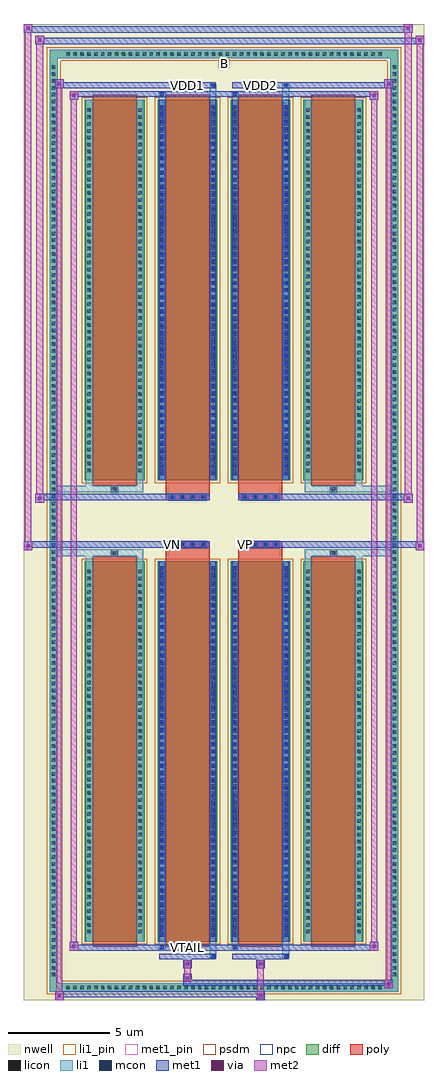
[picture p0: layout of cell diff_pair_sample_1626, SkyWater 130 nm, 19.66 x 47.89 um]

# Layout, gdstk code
import gdstk
lib = gdstk.Library(unit=1e-6, precision=5e-09)
def R(c, l, rs):  # rectangles x0, y0, x1, y1
    for r in rs: c.add(gdstk.rectangle(r[:2], r[2:], *l))
def A(c, l, x, y, w, h, nx, ny, dx, dy):  # array of equal rectangles
    R(c, l, [(x+i*dx, y+j*dy, x+i*dx+w, y+j*dy+h) for i in range(nx) for j in range(ny)])
def P(c, l, *ps):  # polygons
    for p in ps: c.add(gdstk.Polygon(p, *l))
nwell = (64, 20)
diff = (65, 20)
poly = (66, 20)
licon = (66, 44)
li1_pin = (67, 16)
li1 = (67, 20)
mcon = (67, 44)
met1_pin = (68, 16)
met1 = (68, 20)
via = (68, 44)
met2 = (69, 20)
psdm = (94, 20)
npc = (95, 20)

diff_pair_sample_1626 = lib.new_cell('diff_pair_sample_1626')
R(diff_pair_sample_1626, nwell, [(-9.83,-23.51,9.83,24.38), (-7.15,-21.7,-0.01,-0.8), (0.01,-21.7,7.15,-0.8), (-7.15,0.8,-0.01,21.7), (0.01,0.8,7.15,21.7)])
A(diff_pair_sample_1626, diff, -7.855, -23.11, 0.41, 0.41, 46, 2, 0.34, 45.81)
A(diff_pair_sample_1626, diff, -8.56, -22.475, 0.41, 0.41, 1, 132, 0, 0.34)
A(diff_pair_sample_1626, diff, 8.15, -22.475, 0.41, 0.41, 1, 132, 0, 0.34)
A(diff_pair_sample_1626, diff, -6.84, -20.655, 2.94, 18.67, 4, 2, 3.58, 22.64)
R(diff_pair_sample_1626, diff, [(-7.855,-23.11,7.855,-22.7), (-8.56,-22.475,-8.15,22.475), (8.15,-22.475,8.56,22.475), (-7.855,22.7,7.855,23.11)])
P(diff_pair_sample_1626, diff, [(8.56,23.11),(-8.56,23.11),(-8.56,-22.7),(-8.15,-22.7),(-8.15,22.7),(8.15,22.7),(8.15,-22.7),(-8.15,-22.7),(-8.56,-22.7),(-8.56,-23.11),(8.56,-23.11)])
A(diff_pair_sample_1626, poly, -6.45, -20.905, 2.16, 19.17, 4, 2, 3.58, 22.64)
A(diff_pair_sample_1626, poly, -2.705, -1.33, 0.33, 0.33, 4, 2, 0.5, 2.33)
A(diff_pair_sample_1626, poly, 0.875, -1.33, 0.33, 0.33, 4, 2, 0.5, 2.33)
R(diff_pair_sample_1626, poly, [(-5.535,-1.735,-5.205,-1.405), (-5.535,-1.735,-5.205,-1.405), (-2.87,-1.735,-0.71,-1.33), (0.71,-1.735,2.87,-1.33), (5.205,-1.735,5.535,-1.405), (5.205,-1.735,5.535,-1.405), (-2.87,-1.33,-0.71,-1), (0.71,-1.33,2.87,-1), (-2.87,1,-0.71,1.33), (0.71,1,2.87,1.33), (-2.87,1.33,-0.71,1.735), (0.71,1.33,2.87,1.735), (-5.535,1.405,-5.205,1.735), (-5.535,1.405,-5.205,1.735), (5.205,1.405,5.535,1.735), (5.205,1.405,5.535,1.735)])
A(diff_pair_sample_1626, licon, -7.735, -22.99, 0.17, 0.17, 46, 2, 0.34, 45.81)
A(diff_pair_sample_1626, licon, -8.44, -22.355, 0.17, 0.17, 1, 132, 0, 0.34)
A(diff_pair_sample_1626, licon, 8.27, -22.355, 0.17, 0.17, 1, 132, 0, 0.34)
A(diff_pair_sample_1626, licon, -6.7, -20.245, 0.17, 0.17, 1, 53, 0, 0.34)
A(diff_pair_sample_1626, licon, -4.21, -20.245, 0.17, 0.17, 1, 53, 0, 0.34)
A(diff_pair_sample_1626, licon, -3.12, -20.245, 0.17, 0.17, 1, 53, 0, 0.34)
A(diff_pair_sample_1626, licon, -0.63, -20.245, 0.17, 0.17, 1, 53, 0, 0.34)
A(diff_pair_sample_1626, licon, 0.46, -20.245, 0.17, 0.17, 1, 53, 0, 0.34)
A(diff_pair_sample_1626, licon, 2.95, -20.245, 0.17, 0.17, 1, 53, 0, 0.34)
A(diff_pair_sample_1626, licon, 4.04, -20.245, 0.17, 0.17, 1, 53, 0, 0.34)
A(diff_pair_sample_1626, licon, 6.53, -20.245, 0.17, 0.17, 1, 53, 0, 0.34)
A(diff_pair_sample_1626, licon, -2.625, -1.25, 0.17, 0.17, 4, 2, 0.5, 2.33)
A(diff_pair_sample_1626, licon, 0.955, -1.25, 0.17, 0.17, 4, 2, 0.5, 2.33)
A(diff_pair_sample_1626, licon, -6.7, 2.395, 0.17, 0.17, 1, 53, 0, 0.34)
A(diff_pair_sample_1626, licon, -4.21, 2.395, 0.17, 0.17, 1, 53, 0, 0.34)
A(diff_pair_sample_1626, licon, -3.12, 2.395, 0.17, 0.17, 1, 53, 0, 0.34)
A(diff_pair_sample_1626, licon, -0.63, 2.395, 0.17, 0.17, 1, 53, 0, 0.34)
A(diff_pair_sample_1626, licon, 0.46, 2.395, 0.17, 0.17, 1, 53, 0, 0.34)
A(diff_pair_sample_1626, licon, 2.95, 2.395, 0.17, 0.17, 1, 53, 0, 0.34)
A(diff_pair_sample_1626, licon, 4.04, 2.395, 0.17, 0.17, 1, 53, 0, 0.34)
A(diff_pair_sample_1626, licon, 6.53, 2.395, 0.17, 0.17, 1, 53, 0, 0.34)
R(diff_pair_sample_1626, licon, [(-5.455,-1.655,-5.285,-1.485), (5.285,-1.655,5.455,-1.485), (-5.455,1.485,-5.285,1.655), (5.285,1.485,5.455,1.655)])
R(diff_pair_sample_1626, li1_pin, [(-0.25,22.2,0.25,22.7)])
A(diff_pair_sample_1626, li1, -7.815, -23.07, 0.33, 0.33, 46, 2, 0.34, 45.81)
A(diff_pair_sample_1626, li1, -8.52, -22.435, 0.33, 0.33, 1, 132, 0, 0.34)
A(diff_pair_sample_1626, li1, 8.19, -22.435, 0.33, 0.33, 1, 132, 0, 0.34)
A(diff_pair_sample_1626, li1, -3.12, -20.405, 0.17, 0.17, 1, 51, 0, 0.36)
A(diff_pair_sample_1626, li1, -0.63, -20.405, 0.17, 0.17, 1, 51, 0, 0.36)
A(diff_pair_sample_1626, li1, 0.46, -20.405, 0.17, 0.17, 1, 51, 0, 0.36)
A(diff_pair_sample_1626, li1, 2.95, -20.405, 0.17, 0.17, 1, 51, 0, 0.36)
A(diff_pair_sample_1626, li1, -6.78, -20.325, 0.33, 0.33, 1, 53, 0, 0.34)
A(diff_pair_sample_1626, li1, -4.29, -20.325, 0.33, 0.33, 1, 53, 0, 0.34)
A(diff_pair_sample_1626, li1, -3.2, -20.325, 0.33, 0.33, 1, 53, 0, 0.34)
A(diff_pair_sample_1626, li1, -0.71, -20.325, 0.33, 0.33, 1, 53, 0, 0.34)
A(diff_pair_sample_1626, li1, 0.38, -20.325, 0.33, 0.33, 1, 53, 0, 0.34)
A(diff_pair_sample_1626, li1, 2.87, -20.325, 0.33, 0.33, 1, 53, 0, 0.34)
A(diff_pair_sample_1626, li1, 3.96, -20.325, 0.33, 0.33, 1, 53, 0, 0.34)
A(diff_pair_sample_1626, li1, 6.45, -20.325, 0.33, 0.33, 1, 53, 0, 0.34)
A(diff_pair_sample_1626, li1, -2.705, -1.33, 0.33, 0.33, 4, 2, 0.5, 2.33)
A(diff_pair_sample_1626, li1, 0.875, -1.33, 0.33, 0.33, 4, 2, 0.5, 2.33)
A(diff_pair_sample_1626, li1, -3.12, 2.235, 0.17, 0.17, 1, 51, 0, 0.36)
A(diff_pair_sample_1626, li1, -0.63, 2.235, 0.17, 0.17, 1, 51, 0, 0.36)
A(diff_pair_sample_1626, li1, 0.46, 2.235, 0.17, 0.17, 1, 51, 0, 0.36)
A(diff_pair_sample_1626, li1, 2.95, 2.235, 0.17, 0.17, 1, 51, 0, 0.36)
A(diff_pair_sample_1626, li1, -6.78, 2.315, 0.33, 0.33, 1, 53, 0, 0.34)
A(diff_pair_sample_1626, li1, -4.29, 2.315, 0.33, 0.33, 1, 53, 0, 0.34)
A(diff_pair_sample_1626, li1, -3.2, 2.315, 0.33, 0.33, 1, 53, 0, 0.34)
A(diff_pair_sample_1626, li1, -0.71, 2.315, 0.33, 0.33, 1, 53, 0, 0.34)
A(diff_pair_sample_1626, li1, 0.38, 2.315, 0.33, 0.33, 1, 53, 0, 0.34)
A(diff_pair_sample_1626, li1, 2.87, 2.315, 0.33, 0.33, 1, 53, 0, 0.34)
A(diff_pair_sample_1626, li1, 3.96, 2.315, 0.33, 0.33, 1, 53, 0, 0.34)
A(diff_pair_sample_1626, li1, 6.45, 2.315, 0.33, 0.33, 1, 53, 0, 0.34)
R(diff_pair_sample_1626, li1, [(-8.56,-23.11,-8.15,-22.7), (-8.56,-23.11,-8.15,-22.7), (-8.15,-23.11,8.15,-22.7), (8.15,-23.11,8.56,-22.7), (8.15,-23.11,8.56,-22.7), (-8.56,-22.7,-8.15,22.7), (8.15,-22.7,8.56,22.7), (-0.71,-21.46,-0.38,-20.655), (-0.63,-21.46,-0.46,-21.29), (2.87,-21.46,3.2,-20.655), (2.95,-21.46,3.12,-21.29), (-3.2,-21.03,-2.87,-20.655), (-3.12,-21.03,-2.95,-20.86), (0.38,-21.03,0.71,-20.655), (0.46,-21.03,0.63,-20.86), (-6.78,-20.655,-6.45,-1.985), (-4.29,-20.655,-3.96,-1.985), (-3.2,-20.655,-2.87,-1.985), (-0.71,-20.655,-0.38,-1.985), (0.38,-20.655,0.71,-1.985), (2.87,-20.655,3.2,-1.985), (3.96,-20.655,4.29,-1.985), (6.45,-20.655,6.78,-1.985), (-3.12,-20.405,-2.95,-2.235), (-0.63,-20.405,-0.46,-2.235), (0.46,-20.405,0.63,-2.235), (2.95,-20.405,3.12,-2.235), (-6.78,-1.985,-6.45,-1.405), (-4.29,-1.985,-3.96,-1.405), (3.96,-1.985,4.29,-1.405), (6.45,-1.985,6.78,-1.405), (-8.56,-1.735,-5.535,-1.405), (-6.78,-1.735,-5.535,-1.405), (-5.535,-1.735,-5.205,-1.405), (-5.205,-1.735,-3.96,-1.405), (3.96,-1.735,5.205,-1.405), (5.205,-1.735,5.535,-1.405), (5.205,-1.735,8.56,-1.405), (5.535,-1.735,6.78,-1.405), (-8.56,1.405,-5.535,1.735), (-6.78,1.405,-5.535,1.735), (-6.78,1.405,-6.45,1.985), (-5.535,1.405,-5.205,1.735), (-5.205,1.405,-3.96,1.735), (-4.29,1.405,-3.96,1.985), (3.96,1.405,5.205,1.735), (3.96,1.405,4.29,1.985), (5.205,1.405,5.535,1.735), (5.205,1.405,8.56,1.735), (5.535,1.405,6.78,1.735), (6.45,1.405,6.78,1.985), (-6.78,1.985,-6.45,20.655), (-4.29,1.985,-3.96,20.655), (-3.2,1.985,-2.87,20.655), (-0.71,1.985,-0.38,20.655), (0.38,1.985,0.71,20.655), (2.87,1.985,3.2,20.655), (3.96,1.985,4.29,20.655), (6.45,1.985,6.78,20.655), (-3.12,2.235,-2.95,20.405), (-0.63,2.235,-0.46,20.405), (0.46,2.235,0.63,20.405), (2.95,2.235,3.12,20.405), (-3.2,20.655,-2.87,21.03), (-0.71,20.655,-0.38,21.46), (0.38,20.655,0.71,21.03), (2.87,20.655,3.2,21.46), (-3.12,20.86,-2.95,21.03), (0.46,20.86,0.63,21.03), (-0.63,21.29,-0.46,21.46), (2.95,21.29,3.12,21.46), (-8.56,22.7,-8.15,23.11), (-8.56,22.7,-8.15,23.11), (-8.15,22.7,8.15,23.11), (8.15,22.7,8.56,23.11), (8.15,22.7,8.56,23.11)])
A(diff_pair_sample_1626, mcon, -3.12, -20.405, 0.17, 0.17, 1, 51, 0, 0.36)
A(diff_pair_sample_1626, mcon, -0.63, -20.405, 0.17, 0.17, 1, 51, 0, 0.36)
A(diff_pair_sample_1626, mcon, 0.46, -20.405, 0.17, 0.17, 1, 51, 0, 0.36)
A(diff_pair_sample_1626, mcon, 2.95, -20.405, 0.17, 0.17, 1, 51, 0, 0.36)
A(diff_pair_sample_1626, mcon, -2.625, -1.25, 0.17, 0.17, 4, 2, 0.5, 2.33)
A(diff_pair_sample_1626, mcon, 0.955, -1.25, 0.17, 0.17, 4, 2, 0.5, 2.33)
A(diff_pair_sample_1626, mcon, -3.12, 2.235, 0.17, 0.17, 1, 51, 0, 0.36)
A(diff_pair_sample_1626, mcon, -0.63, 2.235, 0.17, 0.17, 1, 51, 0, 0.36)
A(diff_pair_sample_1626, mcon, 0.46, 2.235, 0.17, 0.17, 1, 51, 0, 0.36)
A(diff_pair_sample_1626, mcon, 2.95, 2.235, 0.17, 0.17, 1, 51, 0, 0.36)
R(diff_pair_sample_1626, mcon, [(-0.63,-21.46,-0.46,-21.29), (2.95,-21.46,3.12,-21.29), (-3.12,-21.03,-2.95,-20.86), (0.46,-21.03,0.63,-20.86), (-3.12,20.86,-2.95,21.03), (0.46,20.86,0.63,21.03), (-0.63,21.29,-0.46,21.46), (2.95,21.29,3.12,21.46)])
R(diff_pair_sample_1626, met1_pin, [(-1.925,-21.07,-1.655,-20.8), (-2.675,-1.29,-2.405,-1.02), (0.905,-1.29,1.175,-1.02), (-1.925,21.25,-1.655,21.52), (1.655,21.25,1.925,21.52)])
A(diff_pair_sample_1626, met1, -3.18, -20.465, 0.29, 0.29, 1, 51, 0, 0.36)
A(diff_pair_sample_1626, met1, -0.69, -20.465, 0.29, 0.29, 1, 51, 0, 0.36)
A(diff_pair_sample_1626, met1, 0.4, -20.465, 0.29, 0.29, 1, 51, 0, 0.36)
A(diff_pair_sample_1626, met1, 2.89, -20.465, 0.29, 0.29, 1, 51, 0, 0.36)
A(diff_pair_sample_1626, met1, -2.685, -1.31, 0.29, 0.29, 4, 2, 0.5, 2.33)
A(diff_pair_sample_1626, met1, 0.895, -1.31, 0.29, 0.29, 4, 2, 0.5, 2.33)
A(diff_pair_sample_1626, met1, -3.18, 2.175, 0.29, 0.29, 1, 51, 0, 0.36)
A(diff_pair_sample_1626, met1, -0.69, 2.175, 0.29, 0.29, 1, 51, 0, 0.36)
A(diff_pair_sample_1626, met1, 0.4, 2.175, 0.29, 0.29, 1, 51, 0, 0.36)
A(diff_pair_sample_1626, met1, 2.89, 2.175, 0.29, 0.29, 1, 51, 0, 0.36)
R(diff_pair_sample_1626, met1, [(-8.29,-23.51,-7.86,-23.08), (1.575,-23.51,2.005,-23.08), (-8.29,-23.37,2.005,-23.08), (7.86,-22.94,8.29,-22.51), (-2.005,-22.8,8.29,-22.51), (-2.005,-22.66,-1.575,-22.23), (-2.005,-21.95,-1.575,-21.52), (1.575,-21.95,2.005,-21.52), (-3.18,-21.52,-0.4,-21.23), (-0.69,-21.52,-0.4,-21.23), (0.4,-21.52,3.18,-21.23), (2.89,-21.52,3.18,-21.23), (-7.58,-21.09,-7.15,-20.66), (-7.58,-21.09,-3.18,-20.8), (-3.18,-21.09,-2.89,-20.8), (-3.18,-21.09,-0.4,-20.8), (-0.4,-21.09,0.4,-20.8), (0.4,-21.09,0.69,-20.8), (0.4,-21.09,3.18,-20.8), (3.18,-21.09,7.58,-20.8), (7.15,-21.09,7.58,-20.66), (-3.18,-20.655,-2.89,-1.985), (-0.69,-20.655,-0.4,-1.985), (0.4,-20.655,0.69,-1.985), (2.89,-20.655,3.18,-1.985), (-9.83,-1.43,-9.4,-1), (9.4,-1.43,9.83,-1), (-9.83,-1.33,-0.71,-1), (-2.87,-1.33,-0.71,-1), (0.71,-1.33,2.87,-1), (0.71,-1.33,9.83,-1), (-9.26,0.9,-8.83,1.33), (8.83,0.9,9.26,1.33), (-9.26,1,-2.87,1.33), (-2.87,1,-0.71,1.33), (0.71,1,2.87,1.33), (2.87,1,9.26,1.33), (-3.18,1.985,-2.89,20.655), (-0.69,1.985,-0.4,20.655), (0.4,1.985,0.69,20.655), (2.89,1.985,3.18,20.655), (-7.58,20.66,-7.15,21.09), (7.15,20.66,7.58,21.09), (-7.58,20.8,-3.18,21.09), (-3.18,20.8,-2.89,21.09), (-3.18,20.8,-0.4,21.09), (-0.4,20.8,0.4,21.09), (0.4,20.8,0.69,21.09), (0.4,20.8,3.18,21.09), (3.18,20.8,7.58,21.09), (-8.29,21.23,-7.86,21.66), (-8.29,21.23,-3.18,21.52), (-3.18,21.23,-0.4,21.52), (-0.69,21.23,-0.4,21.52), (0.4,21.23,3.18,21.52), (2.89,21.23,3.18,21.52), (3.18,21.23,8.29,21.52), (7.86,21.23,8.29,21.66), (-9.26,23.38,-8.83,23.81), (-9.26,23.38,-7.15,23.71), (-7.15,23.38,7.15,23.71), (7.15,23.38,9.83,23.71), (9.4,23.38,9.83,23.81), (-9.83,23.95,-9.4,24.38), (-9.83,23.95,-7.15,24.28), (-7.15,23.95,7.15,24.28), (7.15,23.95,9.26,24.28), (8.83,23.95,9.26,24.38)])
R(diff_pair_sample_1626, via, [(-8.15,-23.37,-8,-23.22), (1.715,-23.37,1.865,-23.22), (8,-22.8,8.15,-22.65), (-1.865,-22.52,-1.715,-22.37), (-1.865,-21.81,-1.715,-21.66), (1.715,-21.81,1.865,-21.66), (-7.44,-20.95,-7.29,-20.8), (7.29,-20.95,7.44,-20.8), (-9.69,-1.29,-9.54,-1.14), (9.54,-1.29,9.69,-1.14), (-9.12,1.04,-8.97,1.19), (8.97,1.04,9.12,1.19), (-7.44,20.8,-7.29,20.95), (7.29,20.8,7.44,20.95), (-8.15,21.37,-8,21.52), (8,21.37,8.15,21.52), (-9.12,23.52,-8.97,23.67), (9.54,23.52,9.69,23.67), (-9.69,24.09,-9.54,24.24), (8.97,24.09,9.12,24.24)])
R(diff_pair_sample_1626, met2, [(-8.29,-23.51,-7.86,-23.08), (-8.22,-23.51,-7.93,21.66), (-7.93,-23.51,-7.86,-23.08), (-8.24,-23.46,-7.91,-23.13), (1.625,-23.46,1.955,-23.13), (1.625,-23.13,1.955,-21.9), (7.86,-22.94,8.29,-22.51), (7.93,-22.94,8.22,21.66), (8.22,-22.94,8.29,-22.51), (7.91,-22.89,8.24,-22.56), (-1.955,-22.61,-1.625,-22.28), (-1.955,-22.28,-1.625,-21.9), (-1.955,-21.9,-1.625,-21.57), (1.625,-21.9,1.955,-21.57), (-7.58,-21.09,-7.15,-20.66), (-7.51,-21.09,-7.22,21.09), (-7.22,-21.09,-7.15,-20.66), (7.15,-21.09,7.58,-20.66), (7.22,-21.09,7.51,21.09), (7.51,-21.09,7.58,-20.66), (-7.53,-21.04,-7.2,-20.71), (7.2,-21.04,7.53,-20.71), (-9.83,-1.43,-9.4,-1), (-9.78,-1.43,-9.45,24.38), (-9.45,-1.43,-9.4,-1), (9.4,-1.43,9.83,-1), (9.45,-1.43,9.78,23.81), (9.78,-1.43,9.83,-1), (-9.78,-1.38,-9.45,-1.05), (9.45,-1.38,9.78,-1.05), (-9.26,0.9,-8.83,1.33), (-9.21,0.9,-8.88,23.81), (-8.88,0.9,-8.83,1.33), (8.83,0.9,9.26,1.33), (8.88,0.9,9.21,24.38), (9.21,0.9,9.26,1.33), (-9.21,0.95,-8.88,1.28), (8.88,0.95,9.21,1.28), (-7.58,20.66,-7.15,21.09), (-7.22,20.66,-7.15,21.09), (7.15,20.66,7.58,21.09), (7.51,20.66,7.58,21.09), (-7.53,20.71,-7.2,21.04), (7.2,20.71,7.53,21.04), (-8.29,21.23,-7.86,21.66), (-7.93,21.23,-7.86,21.66), (7.86,21.23,8.29,21.66), (8.22,21.23,8.29,21.66), (-8.24,21.28,-7.91,21.61), (7.91,21.28,8.24,21.61), (-9.26,23.38,-8.83,23.81), (-8.88,23.38,-8.83,23.81), (9.4,23.38,9.83,23.81), (9.78,23.38,9.83,23.81), (-9.21,23.43,-8.88,23.76), (9.45,23.43,9.78,23.76), (-9.83,23.95,-9.4,24.38), (-9.45,23.95,-9.4,24.38), (8.83,23.95,9.26,24.38), (9.21,23.95,9.26,24.38), (-9.78,24,-9.45,24.33), (8.88,24,9.21,24.33)])
A(diff_pair_sample_1626, psdm, -6.97, -20.785, 3.2, 18.93, 4, 2, 3.58, 22.64)
P(diff_pair_sample_1626, psdm, [(8.69,23.24),(-8.69,23.24),(-8.69,-22.57),(-8.02,-22.57),(-8.02,22.57),(8.02,22.57),(8.02,-22.57),(-8.02,-22.57),(-8.69,-22.57),(-8.69,-23.24),(8.69,-23.24)])
A(diff_pair_sample_1626, npc, -2.725, -1.35, 0.37, 0.37, 4, 2, 0.5, 2.33)
A(diff_pair_sample_1626, npc, 0.855, -1.35, 0.37, 0.37, 4, 2, 0.5, 2.33)
R(diff_pair_sample_1626, npc, [(-5.555,-1.755,-5.185,-1.385), (5.185,-1.755,5.555,-1.385), (-2.725,-1.35,-1.855,-0.98), (-2.725,-1.35,-1.855,-0.98), (-2.225,-1.35,-1.355,-0.98), (-2.225,-1.35,-1.355,-0.98), (-1.725,-1.35,-0.855,-0.98), (-1.725,-1.35,-0.855,-0.98), (0.855,-1.35,1.725,-0.98), (0.855,-1.35,1.725,-0.98), (1.355,-1.35,2.225,-0.98), (1.355,-1.35,2.225,-0.98), (1.855,-1.35,2.725,-0.98), (1.855,-1.35,2.725,-0.98), (-2.725,0.98,-1.855,1.35), (-2.725,0.98,-1.855,1.35), (-2.225,0.98,-1.355,1.35), (-2.225,0.98,-1.355,1.35), (-1.725,0.98,-0.855,1.35), (-1.725,0.98,-0.855,1.35), (0.855,0.98,1.725,1.35), (0.855,0.98,1.725,1.35), (1.355,0.98,2.225,1.35), (1.355,0.98,2.225,1.35), (1.855,0.98,2.725,1.35), (1.855,0.98,2.725,1.35), (-5.555,1.385,-5.185,1.755), (5.185,1.385,5.555,1.755)])
diff_pair_sample_1626.add(gdstk.Label('VTAIL', (-1.79,-20.935), layer=68, texttype=5))
diff_pair_sample_1626.add(gdstk.Label('VN', (-2.54,-1.155), layer=68, texttype=5))
diff_pair_sample_1626.add(gdstk.Label('VP', (1.04,-1.155), layer=68, texttype=5))
diff_pair_sample_1626.add(gdstk.Label('B', (0,22.45), layer=67, texttype=5))
diff_pair_sample_1626.add(gdstk.Label('VDD2', (1.79,21.385), layer=68, texttype=5))
diff_pair_sample_1626.add(gdstk.Label('VDD1', (-1.79,21.385), layer=68, texttype=5))

lib.write_gds('diff_pair_sample_1626.gds')
